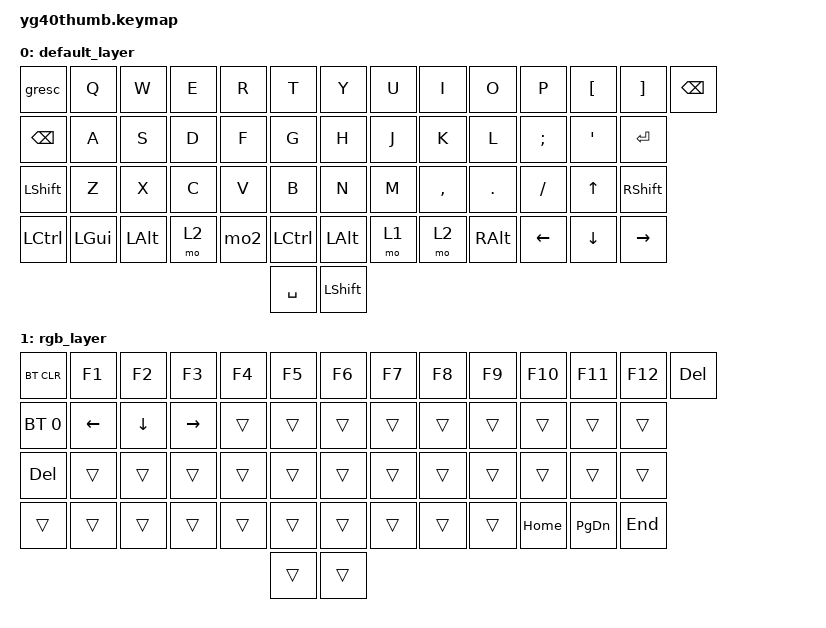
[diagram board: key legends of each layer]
/*
 * Copyright (c) 2021 Nick Winans
 *
 * SPDX-License-Identifier: MIT
 */

#include <behaviors.dtsi>
#include <dt-bindings/zmk/keys.h>
#include <dt-bindings/zmk/rgb.h>
#include <dt-bindings/zmk/bt.h>

/ {
    keymap {
        compatible = "zmk,keymap";

        default_layer {
// ------------------------------------------------------------------------------------------
// | ESC  |  Q  |  W  |  E  |  R  |  T  |  Y  |  U  |  I  |  O  |  P  |  [  |  ]  |   "|"   |
// | BSPC  |  A  |  S  |  D  |  F  |  G  |  H  |  J  |  K  |  L  |  ;  |  '  |     ENTER    |
// |  SHIFT  |  Z  |  X  |  C  |  V  |  B  |  N  |  M  |  ,  |  .  |  /  |   UP   |  Shift  |
// |  CTL  |  WIN  |  ALT  | FN2 | FN1 | Ctrl | Alt | FN1 | FN2 | ALT | Left | Down | Right |
// ------------------------------------------------------------------------------------------
// &gresc / &kp TAB / &kp BSLH
            bindings = <
  //&gresc  &kp N1 &kp N2 &kp N3 &kp N4 &kp N5 &kp N6 &kp N7 &kp N8 &kp N9 &kp N0 &kp MINUS &kp EQUAL  &kp BSPC
///////////////////////////////////////////////////////////////////////////////////////////////////////////////////////////////////////////////////////////////////////////////////
//  C0        C1       C2       C3       C4      C5        C6       C7       C8         C9       C10       C11       C12        C13              // R0
    &gresc    &kp Q    &kp W    &kp E    &kp R   &kp T     &kp Y    &kp U    &kp I      &kp O    &kp P     &kp LBKT  &kp RBKT   &kp BSPC         // R1
    &kp BSPC  &kp A    &kp S    &kp D    &kp F   &kp G     &kp H    &kp J    &kp K      &kp L    &kp SEMI  &kp SQT   &kp RET                     // R2
    &kp LSHFT &kp Z    &kp X    &kp C    &kp V   &kp B     &kp N    &kp M    &kp COMMA  &kp DOT  &kp FSLH  &kp UP    &kp RSHFT                   // R3
    &kp LCTRL &kp LGUI &kp LALT &mo 2    &mo2    &kp LCTRL &kp LALT &mo 1    &mo 2      &kp RALT &kp LEFT  &kp DOWN  &kp RIGHT                   // R4
                                                 &kp SPACE &kp LSHFT
            >;
        };

        rgb_layer {
// ------------------------------------------------------------------------------------------------
// | BT CLR | F1  | F2  | F3  | F4  | F5  | F6  | F7  | F8  | F9  | F10 | F11 | F12 |  Del |
// |  BT 1  |     |     |     |     |     |     |     |     |     |     |     |     |      |
// |  Del   |     |     |     |     |     |     |     |     |     |     |     |     |      |
// |        |     |     |     |     |     |     |     |     |     |     |                  |
// |        |     |     |                             |     |     |     |     |
// ------------------------------------------------------------------------------------------------
            bindings = <
  //&bt BT_CLR    &kp F1    &kp F2    &kp F3     &kp F4     &kp F5     &kp F6      &kp F7     &kp F8    &kp F9    &kp F10   &kp F11    &kp F12    &rgb_ug RGB_EFR
///////////////////////////////////////////////////////////////////////////////////////////////////////////////////////////////////////////////////////////////////////////////////
//  C0            C1        C2        C3         C4         C5         C6          C7         C8        C9        C10       C11        C12        C13               //R0
    &bt BT_CLR    &kp F1    &kp F2    &kp F3     &kp F4     &kp F5     &kp F6      &kp F7     &kp F8    &kp F9    &kp F10   &kp F11    &kp F12    &kp DEL           //R1
    &bt BT_SEL 0  &kp LEFT  &kp DOWN  &kp RIGHT  &trans     &trans     &trans      &trans     &trans    &trans    &trans    &trans     &trans                       //R2
    &kp DEL       &trans    &trans    &trans     &trans     &trans     &trans      &trans     &trans    &trans    &trans    &trans     &trans                       //R3
    &trans        &trans    &trans    &trans     &trans     &trans     &trans      &trans     &trans    &trans    &kp HOME  &kp PG_DN  &kp END                      //R4
                                                            &trans     &trans
            >;
        };
    };
};
